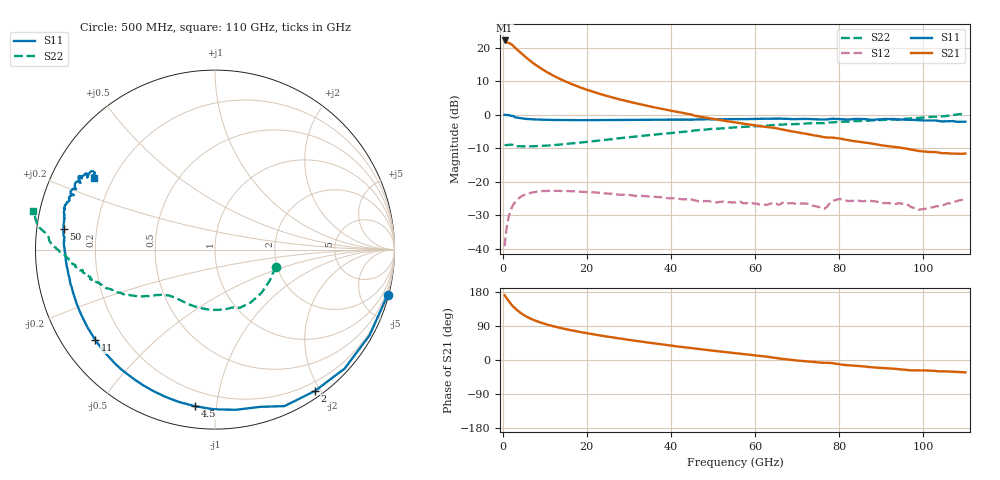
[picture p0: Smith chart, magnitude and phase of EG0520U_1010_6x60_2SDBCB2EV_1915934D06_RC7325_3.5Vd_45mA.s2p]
!File name = EG0520U_1010_6x60_2SDBCB2EV_1915934D06_RC7325_3.5Vd_45mA.s2p
!Base file name = EG0520U_1010_6x60_2SDBCB2EV_1915934D06_RC7325
!Date = 8/23/2019
!Time = 1:10 PM
!Test duration(min) = 0.15
!Test = S-Parameters
!MPTS version = 8.91.5
!State File = C:\Data\PNA\20190821205423\S-Parameters_2019-08-23.sta
!Cal File =
!ComputerName = CMPE-LAB-6
!Comments =
!Attenuation = 0
!Z0 = 50
!Input Power(dBm) = -13.00
!Device ID = EG0520U_1010_6x60_2SDBCB2EV
!Row = 73
!Column = 25
!Technology = QPHT09
!Lot/Wafer = 1915934D06
!Gate Size = 360
!Mask = EG0520
!Cal Standards = GaAs BCB
!Cal Kit = EG2306
!Job Number = 20190821205423
!Device Type = FET
!set_Vg(v) = -1.500
!set_Vd(v) = 3.500
!set_Vd(mA) = 45.000
!file_name = EG0520U_1010_6x60_2SDBCB2EV_1915934D06_RC7325_3.5Vd_45mA.s2p
!Vd(V) = 3.500
!Vd(mA) = 45.212
!Vg(V) = -0.510
!Vg(mA) = -0.002
# GHz  S  DB  R  50
!%	Freq(GHz)  s11(dB)  s11(deg)  s21(dB)  s21(deg)  s12(dB)  s12(deg)  s22(dB)  s22(deg)
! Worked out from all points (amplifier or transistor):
!   220 points, 500 MHz to 110 GHz, reference 50 ohm
!   highest |S21| = 22.1 dB at 500 MHz (marker M1)
!   |S21| within 3 dB of that: start of sweep to 3.719 GHz
!   unconditionally stable (mu >= 1): 32.63 GHz to 104.6 GHz
!   at 18.5 GHz: K = 0.54, MSG = 15.5 dB, |S12| = -23.0 dB
!   at 55.5 GHz: K = 1.58, MAG = 7.5 dB, |S12| = -26.3 dB
!   at 110 GHz: K = -1.72, MSG = 6.7 dB, |S12| = -25.0 dB
!   S11 on the Smith chart (normalised r, x): 500 MHz: 0.17, -7.76; 2 GHz: 0.09, -1.93; 4.5 GHz: 0.11, -0.88; 11 GHz: 0.10, -0.33; 50 GHz: 0.08, +0.07; 110 GHz: 0.13, +0.27
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0.5  -0.05 -14.7  22.14 171.0  -39.28 81.3  -9.09 -15.6
1  -0.13 -29.0  21.71 162.6  -33.51 73.7  -9.10 -29.7
2  -0.31 -54.8  21.09 147.9  -28.35 59.6  -8.98 -56.3
2.5  -0.41 -66.1  20.64 141.5  -26.97 53.8  -9.05 -66.9
3  -0.80 -73.8  19.95 136.3  -26.16 49.5  -9.42 -71.2
3.5  -0.92 -82.5  19.39 131.3  -25.40 45.1  -9.45 -79.1
4.5  -1.11 -97.1  18.27 122.7  -24.40 37.7  -9.46 -92.5
5.5  -1.25 -108.7  17.18 115.7  -23.80 32.0  -9.50 -102.5
7  -1.40 -121.8  15.66 107.4  -23.27 25.5  -9.45 -113.3
9  -1.50 -134.0  13.89 99.1  -22.89 19.5  -9.37 -122.0
11  -1.56 -142.9  12.38 92.3  -22.77 15.0  -9.22 -128.1
14.5  -1.63 -153.5  10.16 82.7  -22.80 9.6  -8.85 -134.6
19  -1.66 -162.3  7.89 72.8  -23.03 5.1  -8.27 -139.2
26.5  -1.64 -171.5  4.98 59.0  -23.66 1.6  -7.23 -143.8
37  -1.54 -179.5  1.93 42.4  -24.63 1.0  -5.84 -149.5
50  -1.42 172.3  -1.26 24.5  -26.00 3.1  -4.26 -157.9
55.5  -1.35 169.0  -2.36 17.9  -26.27 4.7  -3.78 -160.9
73.5  -1.35 159.4  -6.07 -5.1  -27.14 0.1  -2.53 -170.1
80  -1.36 156.7  -7.11 -11.3  -25.23 4.6  -2.17 -172.6
92  -1.34 151.5  -9.47 -22.3  -26.45 -13.1  -1.52 -178.1
99  -1.66 149.7  -10.87 -27.3  -28.41 -14.7  -0.97 179.1
110  -2.11 149.2  -11.61 -32.7  -25.01 -9.3  0.29 168.1
